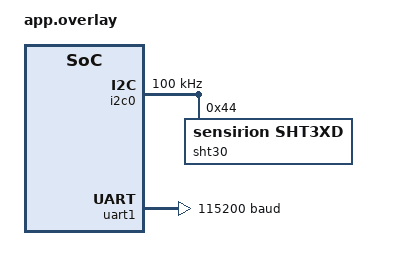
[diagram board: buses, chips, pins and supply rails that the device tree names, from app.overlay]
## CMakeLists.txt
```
cmake_minimum_required(VERSION 3.12.0)

set(DTC_OVERLAY_FILE "${CMAKE_CURRENT_SOURCE_DIR}/app.overlay")

find_package(Zephyr REQUIRED HINTS $ENV{ZEPHYR_BASE})

project(encoder)

# Gộp tạo file .a và đánh chỉ mục symbol trong 1 bước (ar qcs) để tránh lỗi ranlib.exe bị khóa file trên Windows
set(CMAKE_C_ARCHIVE_CREATE "<CMAKE_AR> qcs <TARGET> <LINK_FLAGS> <OBJECTS>")
set(CMAKE_C_ARCHIVE_FINISH "<CMAKE_COMMAND> -E true")
set(CMAKE_ASM_ARCHIVE_CREATE "<CMAKE_AR> qcs <TARGET> <LINK_FLAGS> <OBJECTS>")
set(CMAKE_ASM_ARCHIVE_FINISH "<CMAKE_COMMAND> -E true")

target_include_directories(app PRIVATE 
    src
    include
    include/hamming74_encoder
    include/huffman_encoder
    include/logger
    include/sht30_driver
    include/control_pannel
    include/Tx
    )

target_sources(app PRIVATE
    src/main.c
    src/factory.c
    include/hamming74_encoder/hamming74_encoder.c
    include/huffman_encoder/huffman_encoder.c
    include/logger/logger.c
    include/sht30_driver/sht30_driver.c
    include/control_pannel/control_pannel.c
    include/Tx/tx.c
    )
```

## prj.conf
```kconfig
CONFIG_STDOUT_CONSOLE=y
CONFIG_SERIAL=y
CONFIG_CONSOLE=y
CONFIG_UART_CONSOLE=y
CONFIG_GPIO=y
CONFIG_I2C=y
CONFIG_SENSOR=y
CONFIG_SHT3XD=y
CONFIG_CBPRINTF_FP_SUPPORT=y

#CONFIG_SHT3XD=y
```

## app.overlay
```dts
#include <zephyr/dt-bindings/i2c/i2c.h>
#include <zephyr/dt-bindings/pinctrl/esp32s3-pinctrl.h>

/* 1. Cấu hình lại chân Pinmux cho I2C0: SDA = GPIO8, SCL = GPIO9 */
&pinctrl {
    i2c0_custom: i2c0_custom {
        group1 {
            pinmux = <I2C0_SDA_GPIO8>, <I2C0_SCL_GPIO9>;
            bias-pull-up;
            drive-open-drain;
            output-high;
        };
    };
};

/* 2. Bật I2C0 ở tốc độ 100kHz và khai báo node SHT30 tại địa chỉ 0x44 */
&i2c0 {
    status = "okay";
    clock-frequency = <I2C_BITRATE_STANDARD>;
    pinctrl-0 = <&i2c0_custom>;
    pinctrl-names = "default";    /* <-- Sửa thành "default" */

    sht30: sht3xd@44 {
        compatible = "sensirion,sht3xd";
        reg = <0x44>;
        status = "okay";
    };
};

/* 3. Bật thêm UART1 (mặc định TX=GPIO17, RX=GPIO18) để truyền frame sang board CHANNEL */
&uart1 {
    status = "okay";
    current-speed = <115200>;
    pinctrl-0 = <&uart1_default>;
    pinctrl-names = "default";
};
```

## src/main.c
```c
#include "factory.h"

int main(void) {
  factory_run();
  return 0;
}
```

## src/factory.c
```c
#include "factory.h"

#include <math.h>
#include <stdbool.h>
#include <stddef.h>
#include <stdint.h>
#include <string.h>
#include <zephyr/kernel.h>
#include <zephyr/sys/printk.h>

#include "control_pannel.h"
#include "hamming74_encoder.h"
#include "huffman_encoder.h"
#include "logger.h"
#include "sht30_driver.h"
#include "tx.h"

#define SHT30_BATCH_SAMPLE_COUNT 128U
#define SHT30_SAMPLE_INTERVAL_MS 1000U
#define HUFFMAN_STREAM_BUF_SIZE 256U
#define CODEBOOK_BUF_SIZE 520U
#define HAMMING_STREAM_BUF_SIZE 512U
#define LN2 0.6931471805599453f
#define LOG_STAGE_START_FMT "[LOG_STAGE_START] batch=%u stage=%s\n"
#define LOG_STAGE_END_FMT "[LOG_STAGE_END] batch=%u stage=%s\n"

typedef struct {
  uint8_t huffman_bitstream[HUFFMAN_STREAM_BUF_SIZE];
  uint8_t serialized_codebook[CODEBOOK_BUF_SIZE];
  uint8_t hamming_bitstream[HAMMING_STREAM_BUF_SIZE];
  huffman_codebook_t codebook;
  huffman_metrics_t h_metrics;
  hamming74_metrics_t ham_metrics;
  size_t book_bytes;
  huffman_status_t h_stat;
  hamming74_status_t ham_stat;
  uint32_t elapsed_huff_us;
  uint32_t elapsed_ham_us;
} stream_enc_t;

typedef struct {
  uint8_t temp[SHT30_BATCH_SAMPLE_COUNT];
  uint8_t humd[SHT30_BATCH_SAMPLE_COUNT];
  stream_enc_t enc_temp;
  stream_enc_t enc_humd;
  uint32_t batch_id;
  uint16_t tx_seq_id;
  bool has_batch;
  bool has_encoded;
  float avg_temp;
  float avg_rh;
  float entropy_temp;
  float entropy_humd;
  uint32_t dropped_samples;
} factory_ctx_t;

static factory_ctx_t s_ctx;
static uint16_t s_ent_freq[HUFFMAN_MAX_SYMBOLS];

static uint8_t round_clamp_u8(float val, uint8_t max_val) {
  if (val <= 0.0f) {
    return 0U;
  }
  float max_f = (float)max_val;
  if (val >= max_f) {
    return max_val;
  }
  uint32_t rounded = (uint32_t)(val + 0.5f);
  return (rounded > (uint32_t)max_val) ? max_val : (uint8_t)rounded;
}

static float compute_shannon_entropy(const uint8_t *data, size_t len) {
  if (data == NULL || len == 0U) {
    return 0.0f;
  }

  memset(s_ent_freq, 0, sizeof(s_ent_freq));
  for (size_t i = 0U; i < len; i++) {
    s_ent_freq[data[i]]++;
  }

  float entropy = 0.0f;
  for (size_t i = 0U; i < HUFFMAN_MAX_SYMBOLS; i++) {
    if (s_ent_freq[i] > 0U) {
      float p = (float)s_ent_freq[i] / (float)len;
      entropy -= p * (logf(p) / LN2);
    }
  }
  return entropy;
}

static bool require_batch_data(void) {
  if (!s_ctx.has_batch) {
    printk("\n[WARN] Chua co du lieu cam bien! Vui long nhap lenh COLLECT truoc.\n");
    return false;
  }
  return true;
}

static void collect_sht30_batch(void) {
  size_t valid_count = 0U;
  float sum_temp = 0.0f;
  float sum_rh = 0.0f;
  sht30_stats_t stats_before;

  sht30_get_stats(&stats_before);
  printk("\n[SHT30] Dang thu thap lo mau #%u (%u mau hop le, chu ky %u ms)...\n", (unsigned)s_ctx.batch_id, SHT30_BATCH_SAMPLE_COUNT, SHT30_SAMPLE_INTERVAL_MS);

  while (valid_count < SHT30_BATCH_SAMPLE_COUNT) {
    sht30_sample_t sample;
    sht30_status_t st = sht30_read_sample(&sample);

    if (st == SHT30_OK) {
      float t_c = sht30_raw_to_celsius(sample.t_raw);
      float rh_pct = sht30_raw_to_humidity(sample.rh_raw);
      uint8_t t_u8 = round_clamp_u8(t_c, 255U);
      uint8_t h_u8 = round_clamp_u8(rh_pct, 100U);

      s_ctx.temp[valid_count] = t_u8;
      s_ctx.humd[valid_count] = h_u8;
      sum_temp += t_c;
      sum_rh += rh_pct;
      valid_count++;

      if (valid_count == 1U || (valid_count % 8U == 0U) || valid_count == SHT30_BATCH_SAMPLE_COUNT) {
        printk("  [Mau %3u/%3u] T=%.2f C -> %3u (0x%02X) | RH=%.2f %% -> %3u (0x%02X)\n", (unsigned)valid_count, SHT30_BATCH_SAMPLE_COUNT, (double)t_c, (unsigned)t_u8, t_u8, (double)rh_pct, (unsigned)h_u8, h_u8);
      }

      if (valid_count < SHT30_BATCH_SAMPLE_COUNT && SHT30_SAMPLE_INTERVAL_MS > SHT30_MEAS_DELAY_MS) {
        k_msleep(SHT30_SAMPLE_INTERVAL_MS - SHT30_MEAS_DELAY_MS);
      }
    } else {
      printk("  [SHT30 ERROR] Loi doc cam bien (ma loi: %d) -> Thu lai...\n", (int)st);
      k_msleep(500);
    }
  }

  sht30_stats_t stats_after;
  sht30_get_stats(&stats_after);

  s_ctx.avg_temp = sum_temp / (float)SHT30_BATCH_SAMPLE_COUNT;
  s_ctx.avg_rh = sum_rh / (float)SHT30_BATCH_SAMPLE_COUNT;
  s_ctx.dropped_samples = stats_after.i2c_errors - stats_before.i2c_errors;
}

static void run_huffman_on_stream(const uint8_t *in_data, stream_enc_t *enc) {
  uint32_t start = k_cycle_get_32();
  enc->h_stat = huffman_encode(in_data, SHT30_BATCH_SAMPLE_COUNT, enc->huffman_bitstream, sizeof(enc->huffman_bitstream), &enc->codebook, &enc->h_metrics);
  if (enc->h_stat == HUFFMAN_OK) {
    int book_len = huffman_serialize_codebook(&enc->codebook, enc->serialized_codebook, sizeof(enc->serialized_codebook));
    enc->book_bytes = (book_len > 0) ? (size_t)book_len : 0U;
  } else {
    enc->book_bytes = 0U;
  }
  enc->elapsed_huff_us = k_cyc_to_us_floor32(k_cycle_get_32() - start);
}

static void run_hamming_on_stream(stream_enc_t *enc) {
  memset(&enc->ham_metrics, 0, sizeof(enc->ham_metrics));
  enc->elapsed_ham_us = 0U;
  enc->ham_stat = HAMMING74_OK;

  if (enc->h_stat != HUFFMAN_OK) {
    enc->ham_stat = HAMMING74_ERR_PARAM;
    return;
  }

  size_t out_bits = 0U;
  uint32_t start = k_cycle_get_32();
  enc->ham_stat = hamming74_encode(enc->huffman_bitstream, enc->h_metrics.coded_valid_bits, enc->hamming_bitstream, sizeof(enc->hamming_bitstream), &out_bits, &enc->ham_metrics);
  enc->elapsed_ham_us = k_cyc_to_us_floor32(k_cycle_get_32() - start);
}

static void build_total_huffman_metrics(huffman_metrics_t *out_m, uint16_t *out_syms, size_t *out_book_bytes) {
  const huffman_metrics_t *mt = &s_ctx.enc_temp.h_metrics;
  const huffman_metrics_t *mh = &s_ctx.enc_humd.h_metrics;

  size_t raw_total = SHT30_BATCH_SAMPLE_COUNT * 2U;
  size_t total_bits = mt->coded_valid_bits + mh->coded_valid_bits;
  size_t total_bytes = mt->coded_bytes_count + mh->coded_bytes_count;
  size_t total_book = s_ctx.enc_temp.book_bytes + s_ctx.enc_humd.book_bytes;
  float avg_entropy = 0.5f * (mt->entropy + mh->entropy);
  float avg_len = (float)total_bits / (float)raw_total;

  out_m->raw_bytes_count = raw_total;
  out_m->coded_valid_bits = total_bits;
  out_m->coded_bytes_count = total_bytes;
  out_m->codebook_bytes_size = total_book;
  out_m->entropy = avg_entropy;
  out_m->avg_code_len = avg_len;
  out_m->coding_efficiency = (avg_len > 0.0f) ? (avg_entropy / avg_len) : 0.0f;
  out_m->payload_comp_ratio = (total_bits > 0U) ? (((float)raw_total * 8.0f) / (float)total_bits) : 0.0f;
  out_m->net_comp_ratio = ((total_bytes + total_book) > 0U) ? ((float)raw_total / (float)(total_bytes + total_book)) : 0.0f;

  *out_syms = (uint16_t)(s_ctx.enc_temp.codebook.used_symbols_count + s_ctx.enc_humd.codebook.used_symbols_count);
  *out_book_bytes = total_book;
}

static void handle_start_mode(void) {
  logger_init();
  if (control_pannel_init() != CP_TRUE) {
    printk("[ERROR] Khong the khoi tao UART Console cho Control Panel!\n");
  }
  if (tx_init() != TX_OK) {
    printk("[ERROR] Khong the khoi tao UART1 TX (GPIO17)!\n");
  }
  logger_print_banner();
  logger_print_csv_header();

  printk("\n[HARDWARE] Khoi tao cam bien SHT30 qua I2C (SDA=GPIO8, SCL=GPIO9, Addr=0x44): ");
  while (sht30_init() != SHT30_OK) {
    printk("FAILED! Kiem tra dau noi I2C SHT30, thu lai sau 2 giay...\n");
    k_sleep(K_SECONDS(2));
  }
  printk("READY!\n");
}

static void handle_collect_mode(void) {
  s_ctx.batch_id++;
  printk(LOG_STAGE_START_FMT, (unsigned)s_ctx.batch_id, "collect");

  collect_sht30_batch();
  s_ctx.entropy_temp = compute_shannon_entropy(s_ctx.temp, SHT30_BATCH_SAMPLE_COUNT);
  s_ctx.entropy_humd = compute_shannon_entropy(s_ctx.humd, SHT30_BATCH_SAMPLE_COUNT);
  s_ctx.has_batch = true;
  s_ctx.has_encoded = false;

  printk("\n[COLLECT OK] Lo #%u (%u mau | T_tb=%.2f C, H(T)=%.4f | RH_tb=%.2f %%, H(RH)=%.4f)\n", (unsigned)s_ctx.batch_id, SHT30_BATCH_SAMPLE_COUNT, (double)s_ctx.avg_temp, (double)s_ctx.entropy_temp, (double)s_ctx.avg_rh, (double)s_ctx.entropy_humd);

  logger_print_stream_collected("TEMP", "C", s_ctx.batch_id, s_ctx.temp, SHT30_BATCH_SAMPLE_COUNT);
  logger_print_probability_table("TEMP", s_ctx.temp, SHT30_BATCH_SAMPLE_COUNT);

  logger_print_stream_collected("HUMD", "%%RH", s_ctx.batch_id, s_ctx.humd, SHT30_BATCH_SAMPLE_COUNT);
  logger_print_probability_table("HUMD", s_ctx.humd, SHT30_BATCH_SAMPLE_COUNT);

  printk("\n             Hay chon ENCODER de ma hoa Huffman + Hamming(7,4).\n");
  printk(LOG_STAGE_END_FMT, (unsigned)s_ctx.batch_id, "collect");
}

static bool handle_encoder_mode(void) {
  if (!require_batch_data()) {
    return false;
  }

  printk(LOG_STAGE_START_FMT, (unsigned)s_ctx.batch_id, "encoder");
  printk("\n[STATE: ENCODER] Thuc thi ENCODER (Canonical Huffman + Hamming 7,4 theo LTTT06) cho Lo #%u...\n", (unsigned)s_ctx.batch_id);
  run_huffman_on_stream(s_ctx.temp, &s_ctx.enc_temp);
  run_huffman_on_stream(s_ctx.humd, &s_ctx.enc_humd);

  if (s_ctx.enc_temp.h_stat == HUFFMAN_OK) {
    logger_print_huffman_table("TEMP", &s_ctx.enc_temp.codebook, &s_ctx.enc_temp.h_metrics, s_ctx.enc_temp.huffman_bitstream);
  }
  if (s_ctx.enc_humd.h_stat == HUFFMAN_OK) {
    logger_print_huffman_table("HUMD", &s_ctx.enc_humd.codebook, &s_ctx.enc_humd.h_metrics, s_ctx.enc_humd.huffman_bitstream);
  }

  hamming74_params_t params;
  hamming74_compute_params(&params);
  logger_print_hamming_theory(&params);

  run_hamming_on_stream(&s_ctx.enc_temp);
  run_hamming_on_stream(&s_ctx.enc_humd);

  if (s_ctx.enc_temp.ham_stat == HAMMING74_OK) {
    logger_print_hamming_stream_steps("TEMP", s_ctx.enc_temp.huffman_bitstream, s_ctx.enc_temp.h_metrics.coded_valid_bits, s_ctx.enc_temp.hamming_bitstream, &s_ctx.enc_temp.ham_metrics, s_ctx.enc_temp.elapsed_ham_us);
  }
  if (s_ctx.enc_humd.ham_stat == HAMMING74_OK) {
    logger_print_hamming_stream_steps("HUMD", s_ctx.enc_humd.huffman_bitstream, s_ctx.enc_humd.h_metrics.coded_valid_bits, s_ctx.enc_humd.hamming_bitstream, &s_ctx.enc_humd.ham_metrics, s_ctx.enc_humd.elapsed_ham_us);
  }

  huffman_metrics_t total_m;
  uint16_t total_syms = 0U;
  size_t total_book = 0U;
  build_total_huffman_metrics(&total_m, &total_syms, &total_book);

  size_t total_ham_in_bits = s_ctx.enc_temp.ham_metrics.in_bits_count + s_ctx.enc_humd.ham_metrics.in_bits_count;
  size_t total_ham_out_bits = s_ctx.enc_temp.ham_metrics.out_bits_count + s_ctx.enc_humd.ham_metrics.out_bits_count;
  hamming74_metrics_t total_ham = {
      .in_bits_count = total_ham_in_bits,
      .in_nibbles_count = s_ctx.enc_temp.ham_metrics.in_nibbles_count + s_ctx.enc_humd.ham_metrics.in_nibbles_count,
      .out_bits_count = total_ham_out_bits,
      .out_bytes_count = s_ctx.enc_temp.ham_metrics.out_bytes_count + s_ctx.enc_humd.ham_metrics.out_bytes_count,
      .code_rate = (total_ham_out_bits > 0U) ? ((float)total_ham_in_bits / (float)total_ham_out_bits) : 0.0f
  };

  uint32_t us_t = s_ctx.enc_temp.elapsed_huff_us + s_ctx.enc_temp.elapsed_ham_us;
  uint32_t us_h = s_ctx.enc_humd.elapsed_huff_us + s_ctx.enc_humd.elapsed_ham_us;
  int st_t = (s_ctx.enc_temp.h_stat == HUFFMAN_OK && s_ctx.enc_temp.ham_stat == HAMMING74_OK) ? 0 : -1;
  int st_h = (s_ctx.enc_humd.h_stat == HUFFMAN_OK && s_ctx.enc_humd.ham_stat == HAMMING74_OK) ? 0 : -1;
  int st_total = (st_t == 0 && st_h == 0) ? 0 : -1;

  logger_log_encoder(s_ctx.batch_id, ENCODER_STREAM_TEMP, SHT30_BATCH_SAMPLE_COUNT, s_ctx.dropped_samples, s_ctx.avg_temp, s_ctx.avg_rh, SHT30_BATCH_SAMPLE_COUNT, s_ctx.enc_temp.codebook.used_symbols_count, s_ctx.enc_temp.book_bytes, &s_ctx.enc_temp.h_metrics, &s_ctx.enc_temp.ham_metrics, us_t, st_t);
  logger_log_encoder(s_ctx.batch_id, ENCODER_STREAM_HUMD, SHT30_BATCH_SAMPLE_COUNT, s_ctx.dropped_samples, s_ctx.avg_temp, s_ctx.avg_rh, SHT30_BATCH_SAMPLE_COUNT, s_ctx.enc_humd.codebook.used_symbols_count, s_ctx.enc_humd.book_bytes, &s_ctx.enc_humd.h_metrics, &s_ctx.enc_humd.ham_metrics, us_h, st_h);
  logger_log_encoder(s_ctx.batch_id, ENCODER_STREAM_TOTAL, SHT30_BATCH_SAMPLE_COUNT, s_ctx.dropped_samples, s_ctx.avg_temp, s_ctx.avg_rh, SHT30_BATCH_SAMPLE_COUNT * 2U, total_syms, total_book, &total_m, &total_ham, us_t + us_h, st_total);

  s_ctx.has_encoded = (st_total == 0);
  printk(LOG_STAGE_END_FMT, (unsigned)s_ctx.batch_id, "encoder");
  return s_ctx.has_encoded;
}

static void send_stream_over_uart(encoder_stream_t stream, const stream_enc_t *enc) {
  if (enc->h_stat != HUFFMAN_OK || enc->ham_stat != HAMMING74_OK) {
    printk("[TX_UART ERROR] Luong %s chua co du lieu Hamming hop le!\n", logger_stream_to_str(stream));
    return;
  }

  tx_frame_t frame = {0};
  frame.mode = (uint8_t)ENCODER_MODE_DEFAULT;
  frame.stream = (uint8_t)stream;
  frame.seq_id = ++s_ctx.tx_seq_id;
  frame.sample_count = (uint16_t)SHT30_BATCH_SAMPLE_COUNT;
  frame.codebook_len = (uint16_t)enc->book_bytes;
  frame.codebook = enc->serialized_codebook;
  frame.payload_bit_count = (uint32_t)enc->ham_metrics.out_bits_count;
  frame.payload_len = (uint16_t)enc->ham_metrics.out_bytes_count;
  frame.payload = enc->hamming_bitstream;

  tx_status_t st = tx_send_frame(&frame);
  if (st != TX_OK) {
    printk("[TX_UART ERROR] Loi gui frame %s (status=%d)\n", logger_stream_to_str(stream), (int)st);
    return;
  }
  tx_print_sent_bits(&frame);
}

static void handle_transmit_uart_mode(void) {
  if (!require_batch_data()) {
    return;
  }
  if (!s_ctx.has_encoded) {
    printk("\n[WARN] Lo #%u chua duoc ma hoa! Vui long chay ENCODER truoc.\n", (unsigned)s_ctx.batch_id);
    return;
  }

  printk(LOG_STAGE_START_FMT, (unsigned)s_ctx.batch_id, "transmit_uart");
  printk("\n[STATE: TRANSMIT_UART] Dang gui du lieu ENCODER (Lo #%u) qua UART1 (TX=GPIO17, 115200bps)...\n", (unsigned)s_ctx.batch_id);
  send_stream_over_uart(ENCODER_STREAM_TEMP, &s_ctx.enc_temp);
  send_stream_over_uart(ENCODER_STREAM_HUMD, &s_ctx.enc_humd);
  printk(LOG_STAGE_END_FMT, (unsigned)s_ctx.batch_id, "transmit_uart");
}

void factory_run(void) {
  control_panel_t current_state = START;
  cp_menu_stage_t active_menu = CP_MENU_IDLE;
  char raw_cmd[64] = {0};

  while (1) {
    switch (current_state) {
    case START:
      handle_start_mode();
      current_state = IDLE;
      continue;

    case IDLE:
      active_menu = CP_MENU_IDLE;
      printk("\n[STATE: IDLE] He thong dang o che do cho.\n");
      control_pannel_print_menu(active_menu);
      break;

    case COLLECT:
      handle_collect_mode();
      active_menu = CP_MENU_IDLE;
      control_pannel_print_menu(active_menu);
      break;

    case ENCODER:
      active_menu = handle_encoder_mode() ? CP_MENU_POST_ENCODER : CP_MENU_IDLE;
      control_pannel_print_menu(active_menu);
      break;

    case TRANSMIT_UART:
      handle_transmit_uart_mode();
      current_state = IDLE;
      continue;

    case ERROR:
    default:
      printk("\n[STATE: ERROR] Lenh Serial \"%s\" KHONG HOP LE!\n", raw_cmd);
      control_pannel_print_menu(active_menu);
      break;
    }

    if (active_menu == CP_MENU_IDLE) {
      printk("\n[CONTROL PANEL] Nhap lenh (COLLECT | ENCODER): ");
    } else {
      printk("\n[CONTROL PANEL] Nhap lenh (IDLE | TRANSMIT_UART): ");
    }
    current_state = read_serial_line(active_menu, raw_cmd, sizeof(raw_cmd));
  }
}
```

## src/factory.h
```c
#ifndef _FACTORY_H_
#define _FACTORY_H_

#ifdef __cplusplus
extern "C" {
#endif

void factory_run(void);

#ifdef __cplusplus
}
#endif

#endif
```
